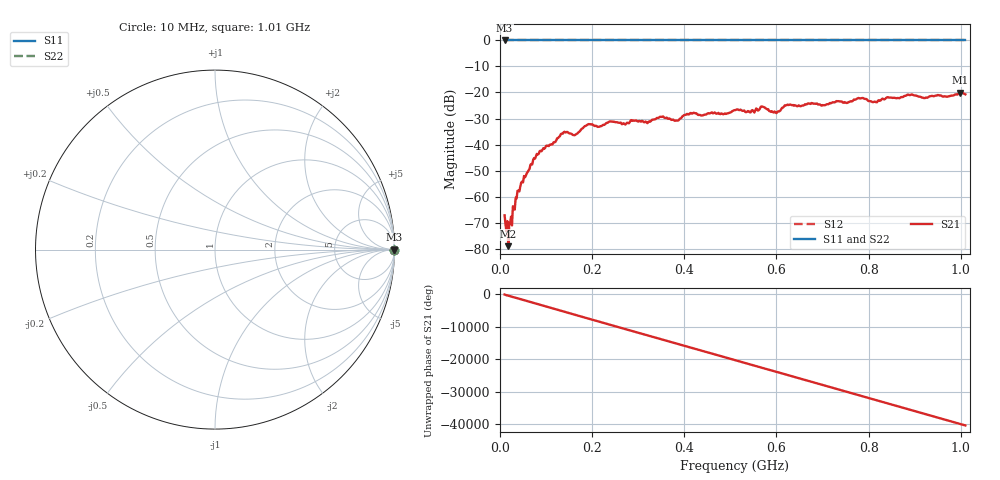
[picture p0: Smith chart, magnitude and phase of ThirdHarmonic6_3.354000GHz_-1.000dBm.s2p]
! 8/17/2025 10:35:47 AM
! C:\ANRITSUVNA\TEMP\TEMP.S2P
! CHANNEL.1
! TR.MEASUREMENT
! RAW.DATA
! RF.CORRECTION.OFF
! AVERAGING.OFF
! IF.BANDWIDTH: 5KHZ
! SWEEPTYPE:  FREQ.SWEEP(Linear)
! Reference Plane Port Info
! PORT:  PORT1  PORT2
! DISTANCE:  0  m  0  m
! TIME:  0  s  0  s
! PHASE.OFFSET:  0  deg.  0  deg.
! LOSS:  0  dB  0  dB
! REF.LOSS:  0  dB  0  dB
! REF.FREQ:  0  Hz  0  Hz
! Power Info
! POWER:  -20  dBm  -20  dBm
! EFF.POWER:  -20  dBm  -20  dBm
! SOURCE.ATTEN:  0  dB  0  dB
! TEST.ATTEN:  0  dB  0  dB
# GHZ S RI R 50.0
! FREQ.GHZ  S11RE  S11IM  S21RE  S21IM  S12RE  S12IM  S22RE  S22IM
!; PortSelection: Port_12
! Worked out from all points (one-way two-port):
!   501 points, 10 MHz to 1.01 GHz, reference 50 ohm
!   highest |S21| = -20.02 dB at 998 MHz (marker M1); lowest = -79.1 dB at 18 MHz (marker M2)
!   lowest |S11| = 0.0 dB at 10 MHz (marker M3)
!   |S11| at or under -10 dB: nowhere
!   |S22| runs from 0.0 to 0.0 dB; largest |S21 - S12| = 1.1
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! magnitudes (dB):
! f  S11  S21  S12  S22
! 10 MHz  0.0  -67.2  0.0  0.0
! 18 MHz  0.0  -79.1  0.0  0.0
! 22 MHz  0.0  -70.2  0.0  0.0
! 24 MHz  0.0  -67.7  0.0  0.0
! 42 MHz  0.0  -58.0  0.0  0.0
! 76 MHz  0.0  -45.4  0.0  0.0
! 136 MHz  0.0  -35.9  0.0  0.0
! 162 MHz  0.0  -36.4  0.0  0.0
! 178 MHz  0.0  -33.9  0.0  0.0
! 344 MHz  0.0  -29.8  0.0  0.0
! 384 MHz  0.0  -30.8  0.0  0.0
! 416 MHz  0.0  -28.1  0.0  0.0
! 510 MHz  0.0  -26.8  0.0  0.0
! 570 MHz  0.0  -25.4  0.0  0.0
! 598 MHz  0.0  -27.7  0.0  0.0
! 622 MHz  0.0  -24.9  0.0  0.0
! 678 MHz  0.0  -24.1  0.0  0.0
! 782 MHz  0.0  -22.3  0.0  0.0
! 814 MHz  0.0  -23.5  0.0  0.0
! 844 MHz  0.0  -21.9  0.0  0.0
! 998 MHz  0.0  -20.0  0.0  0.0
! 1.01 GHz  0.0  -20.7  0.0  0.0
